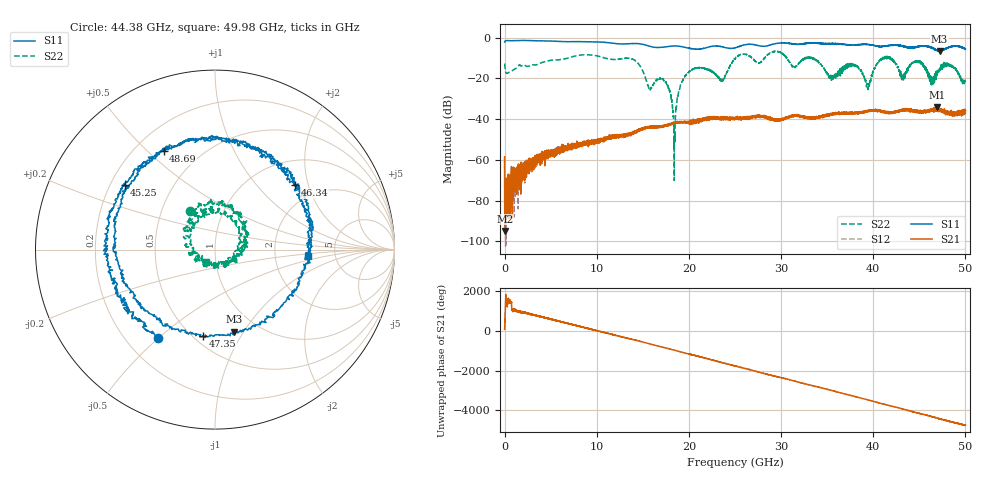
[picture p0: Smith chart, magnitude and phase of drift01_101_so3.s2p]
!Created with skrf (http://scikit-rf.org).
# Hz S RI R 50.0
!freq ReS11 ImS11 ReS21 ImS21 ReS12 ImS12 ReS22 ImS22
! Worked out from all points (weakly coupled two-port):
!   10001 points, 300 kHz to 50 GHz, reference 50 ohm
!   highest |S21| = -34.26 dB at 46.9 GHz (marker M1); lowest = -94.9 dB at 45.3 MHz (marker M2)
!   lowest |S11| = -6.6 dB at 47.2 GHz (marker M3), VSWR 2.77, Z = 38.8 - j45.5 ohm
!   |S11| at or under -10 dB: nowhere
!   |S22| runs from -70.1 to -6.6 dB; largest |S21 - S12| = 0.0037
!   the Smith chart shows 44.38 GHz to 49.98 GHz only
!   S11 on the Smith chart (normalised r, x): 44.38 GHz: 0.33, -0.50; 45.25 GHz: 0.26, +0.30; 46.34 GHz: 1.53, +1.64; 47.35 GHz: 0.56, -0.70; 48.69 GHz: 0.31, +0.56; 49.98 GHz: 3.15, -0.31
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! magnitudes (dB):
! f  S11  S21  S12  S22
! 300 kHz  -2.1  -58.5  -59.0  -12.7
! 45.3 MHz  -1.7  -94.9  -78.1  -14.9
! 8.335 GHz  -1.9  -52.1  -52.0  -8.5
! 16.67 GHz  -4.8  -43.9  -43.8  -20.0
! 17.74 GHz  -4.3  -42.8  -42.9  -24.0
! 18.44 GHz  -4.1  -42.0  -41.8  -48.0
! 19.89 GHz  -5.1  -41.5  -41.3  -17.2
! 23.6 GHz  -4.5  -39.4  -39.5  -20.5
! 25 GHz  -5.0  -39.3  -39.6  -10.3
! 33.34 GHz  -2.6  -39.5  -39.4  -10.0
! 39.46 GHz  -3.3  -36.1  -35.9  -23.3
! 41.67 GHz  -3.9  -36.8  -37.0  -9.9
! 43.19 GHz  -4.2  -35.7  -35.6  -18.9
! 44.38 GHz  -4.6  -36.3  -36.2  -11.8
! 45.25 GHz  -4.2  -36.3  -36.3  -12.0
! 46.34 GHz  -4.9  -34.9  -35.6  -20.4
! 46.9 GHz  -6.2  -34.3  -34.9  -17.7
! 47.2 GHz  -6.6  -35.3  -35.6  -14.5
! 47.35 GHz  -6.3  -35.4  -34.8  -13.9
! 48.69 GHz  -4.1  -37.0  -37.1  -14.1
! 49.98 GHz  -5.6  -36.2  -36.5  -21.5
! 50 GHz  -5.5  -35.7  -36.7  -21.5
